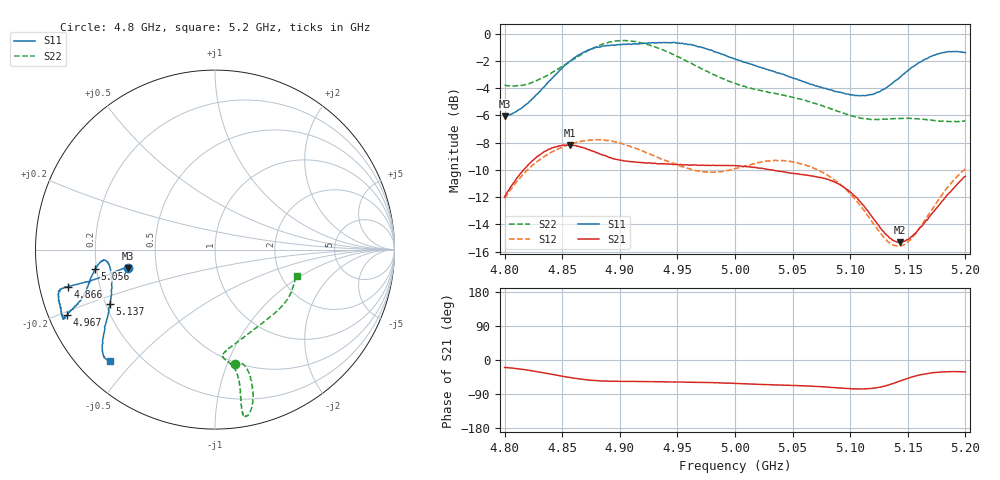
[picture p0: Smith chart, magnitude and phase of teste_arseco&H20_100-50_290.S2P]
! Network Analyzer HP8722D
! Hewlett-Packard
! Data name: Linha & Wilkinson
! Saver's name: Rodrigo Anjos
! Comments: Teste da utilização de aquisição
! continua pelo VNA HP8722D
! Time and date: 6/5/2025 14:59
!  Frequency  S11  S21  S12  S22
# HZ  S  MA R 50
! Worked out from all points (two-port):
!   401 points, 4.8 GHz to 5.2 GHz, reference 50 ohm
!   highest |S21| = -8.16 dB at 4.857 GHz (marker M1); lowest = -15.3 dB at 5.143 GHz (marker M2)
!   |S21| within 3 dB of the highest: 4.806 GHz to 5.093 GHz (286.7 MHz wide, 5.79 % of centre); 5.191778 GHz to end of sweep
!   lowest |S11| = -6.1 dB at 4.8 GHz (marker M3), VSWR 2.98, Z = 17 - j4.59 ohm
!   |S11| at or under -10 dB: nowhere
!   |S22| runs from -6.5 to -0.5 dB; largest |S21 - S12| = 0.62
!   S11 on the Smith chart (normalised r, x): 4.8 GHz: 0.34, -0.09; 4.866 GHz: 0.09, -0.12; 4.967 GHz: 0.06, -0.21; 5.056 GHz: 0.19, -0.08; 5.137 GHz: 0.22, -0.23; 5.2 GHz: 0.09, -0.43
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4.8e9  0.4969 -168.2  0.2517 -19.6  0.2486 -140.8  0.6481 -80.3
4.828e9  0.6004 -167.1  0.3537 -30.7  0.3388 -144.8  0.6745 -75.5
4.857e9  0.7954 -165.9  0.3906 -46.4  0.3931 -150.3  0.7928 -74.7
4.866e9  0.8441 -165.9  0.3832 -50.3  0.4025 -151.8  0.8366 -75.3
4.867e9  0.8479 -165.9  0.383 -50.8  0.4029 -152.0  0.8423 -75.4
4.879e9  0.8906 -165.7  0.3665 -54.2  0.4079 -154.0  0.8942 -76.7
4.899e9  0.9119 -162.9  0.3443 -56.4  0.3977 -156.7  0.9437 -79.1
4.934e9  0.9275 -156.5  0.3329 -57.5  0.3505 -155.6  0.8839 -80.4
4.967e9  0.8999 -156.1  0.329 -58.8  0.3135 -148.0  0.7585 -79.7
5e9  0.8098 -159.0  0.3277 -61.8  0.3197 -137.2  0.657 -81.3
5.032e9  0.7314 -164.7  0.3163 -65.5  0.3426 -134.2  0.6063 -85.4
5.056e9  0.6758 -171.0  0.3047 -67.9  0.3338 -135.8  0.5764 -84.8
5.067e9  0.6516 -173.1  0.3006 -69.0  0.3232 -136.8  0.5585 -82.6
5.087e9  0.6146 -174.4  0.2846 -73.0  0.2891 -138.6  0.5237 -74.8
5.103e9  0.5959 -171.5  0.2555 -76.0  0.25 -138.7  0.4972 -65.4
5.119e9  0.5982 -163.8  0.2125 -74.8  0.2037 -133.9  0.4842 -53.7
5.134e9  0.6457 -154.4  0.178 -65.3  0.1706 -120.7  0.4866 -43.3
5.137e9  0.6602 -152.5  0.1742 -62.3  0.1675 -116.8  0.4878 -41.5
5.143e9  0.6913 -149.2  0.1712 -55.7  0.1661 -109.0  0.4884 -38.1
5.154e9  0.7556 -144.3  0.1809 -44.4  0.1788 -95.0  0.4888 -32.3
5.172e9  0.8341 -139.0  0.2211 -33.5  0.2293 -81.1  0.4808 -24.5
5.2e9  0.853 -133.5  0.2996 -31.3  0.3196 -76.9  0.4774 -17.6
